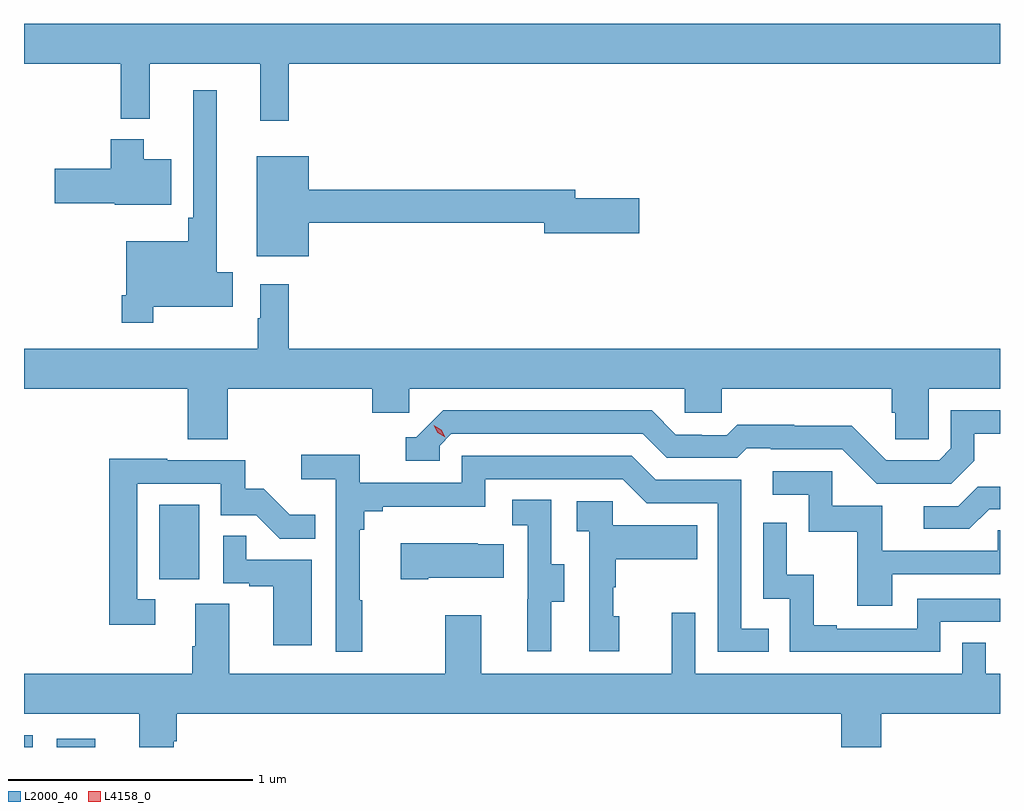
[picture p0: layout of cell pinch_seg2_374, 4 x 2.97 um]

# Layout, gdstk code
import gdstk
lib = gdstk.Library(unit=1e-6, precision=1e-09)
def R(c, l, rs):  # rectangles x0, y0, x1, y1
    for r in rs: c.add(gdstk.rectangle(r[:2], r[2:], *l))
def P(c, l, *ps):  # polygons
    for p in ps: c.add(gdstk.Polygon(p, *l))
L2000_40 = (2000, 40)
L4158_0 = (4158, 0)

pinch_seg2_374 = lib.new_cell('pinch_seg2_374')
R(pinch_seg2_374, L2000_40, [(951.756,608.87,951.792,608.92), (951.89,608.87,952.048,608.905), (952.31,609.558,952.474,609.865)])
P(pinch_seg2_374, L2000_40, [(952.841,611.672),(955.756,611.672),(955.756,611.836),(951.756,611.836),(951.756,611.672),(952.153,611.672),(952.153,611.447),(952.271,611.447),(952.271,611.672),(952.724,611.672),(952.724,611.439),(952.841,611.439)],
  [(952.285,610.676),(952.612,610.676),(952.612,610.817),(952.546,610.817),(952.546,611.563),(952.449,611.563),(952.449,611.041),(952.429,611.041),(952.429,610.945),(952.176,610.945),(952.176,610.723),(952.156,610.723),(952.156,610.611),(952.285,610.611)],
  [(952.36,611.281),(952.246,611.281),(952.246,611.362),(952.112,611.362),(952.112,611.241),(951.882,611.241),(951.882,611.099),(952.128,611.099),(952.128,611.093),(952.36,611.093)],
  [(952.924,611.02),(953.888,611.02),(953.888,610.978),(954.277,610.978),(954.277,611.12),(954.016,611.12),(954.016,611.156),(952.924,611.156),(952.924,611.293),(952.709,611.293),(952.709,610.883),(952.924,610.883)],
  [(952.592,610.34),(953.183,610.34),(953.183,610.242),(953.334,610.242),(953.334,610.34),(954.465,610.34),(954.465,610.242),(954.615,610.242),(954.615,610.34),(955.313,610.34),(955.313,610.242),(955.327,610.242),(955.327,610.132),(955.464,610.132),(955.464,610.34),(955.756,610.34),(955.756,610.504),(952.841,610.504),(952.841,610.768),(952.725,610.768),(952.725,610.628),(952.713,610.628),(952.713,610.504),(951.756,610.504),(951.756,610.34),(952.427,610.34),(952.427,610.132),(952.592,610.132)],
  [(955.651,610.045),(955.651,610.155),(955.756,610.155),(955.756,610.251),(955.554,610.251),(955.554,610.095),(955.506,610.047),(955.29,610.047),(955.148,610.189),(954.912,610.189),(954.912,610.192),(954.679,610.192),(954.637,610.149),(954.534,610.149),(954.534,610.152),(954.427,610.152),(954.328,610.251),(953.475,610.251),(953.364,610.14),(953.321,610.14),(953.321,610.044),(953.46,610.044),(953.46,610.107),(953.508,610.155),(954.291,610.155),(954.39,610.056),(954.679,610.056),(954.718,610.095),(954.817,610.095),(954.817,610.092),(955.11,610.092),(955.251,609.951),(955.557,609.951)],
  [(953.143,609.473),(953.131,609.473),(953.131,609.761),(953.15,609.761),(953.15,609.838),(953.227,609.838),(953.227,609.857),(953.646,609.857),(953.646,609.969),(954.21,609.969),(954.309,609.87),(954.6,609.87),(954.6,609.261),(954.809,609.261),(954.809,609.357),(954.696,609.357),(954.696,609.966),(954.346,609.966),(954.247,610.065),(953.55,610.065),(953.55,609.954),(953.132,609.954),(953.132,610.07),(952.893,610.07),(952.893,609.968),(953.034,609.968),(953.034,609.261),(953.143,609.261)],
  [(952.294,609.477),(952.221,609.477),(952.221,609.951),(952.563,609.951),(952.563,609.822),(952.707,609.822),(952.805,609.724),(952.949,609.724),(952.949,609.823),(952.845,609.823),(952.738,609.93),(952.662,609.93),(952.662,610.047),(952.343,610.047),(952.343,610.052),(952.105,610.052),(952.105,609.372),(952.294,609.372)],
  [(955.315,609.579),(955.756,609.579),(955.756,609.759),(955.747,609.759),(955.747,609.675),(955.273,609.675),(955.273,609.861),(955.068,609.861),(955.068,610.002),(954.825,610.002),(954.825,609.906),(954.972,609.906),(954.972,609.753),(955.171,609.753),(955.171,609.45),(955.315,609.45)],
  [(955.711,609.846),(955.756,609.846),(955.756,609.938),(955.664,609.938),(955.584,609.858),(955.443,609.858),(955.443,609.765),(955.63,609.765)],
  [(953.917,609.466),(953.971,609.466),(953.971,609.621),(953.916,609.621),(953.916,609.884),(953.757,609.884),(953.757,609.781),(953.82,609.781),(953.82,609.477),(953.819,609.477),(953.819,609.264),(953.917,609.264)],
  [(954.196,609.408),(954.171,609.408),(954.171,609.527),(954.181,609.527),(954.181,609.641),(954.515,609.641),(954.515,609.781),(954.168,609.781),(954.168,609.879),(954.021,609.879),(954.021,609.755),(954.072,609.755),(954.072,609.264),(954.196,609.264)],
  [(955.512,609.384),(955.756,609.384),(955.756,609.48),(955.416,609.48),(955.416,609.357),(955.087,609.357),(955.087,609.37),(954.992,609.37),(954.992,609.578),(954.882,609.578),(954.882,609.79),(954.786,609.79),(954.786,609.48),(954.894,609.48),(954.894,609.261),(955.512,609.261)],
  [(952.936,609.639),(952.667,609.639),(952.667,609.737),(952.572,609.737),(952.572,609.543),(952.679,609.543),(952.679,609.531),(952.778,609.531),(952.778,609.288),(952.936,609.288)],
  [(953.413,609.566),(953.723,609.566),(953.723,609.703),(953.615,609.703),(953.615,609.706),(953.301,609.706),(953.301,609.559),(953.413,609.559)],
  [(952.369,608.896),(952.382,608.896),(952.382,609.008),(955.106,609.008),(955.106,608.87),(955.27,608.87),(955.27,609.008),(955.756,609.008),(955.756,609.172),(955.698,609.172),(955.698,609.299),(955.602,609.299),(955.602,609.172),(954.507,609.172),(954.507,609.421),(954.41,609.421),(954.41,609.172),(953.629,609.172),(953.629,609.412),(953.482,609.412),(953.482,609.172),(952.597,609.172),(952.597,609.458),(952.457,609.458),(952.457,609.284),(952.445,609.284),(952.445,609.172),(951.756,609.172),(951.756,609.008),(952.229,609.008),(952.229,608.87),(952.369,608.87)])
P(pinch_seg2_374, L4158_0, [(953.482,610.14),(953.451,610.159),(953.435,610.191),(953.435,610.191),(953.435,610.191),(953.466,610.172),(953.483,610.14),(953.483,610.14)])

lib.write_gds('pinch_seg2_374.gds')
